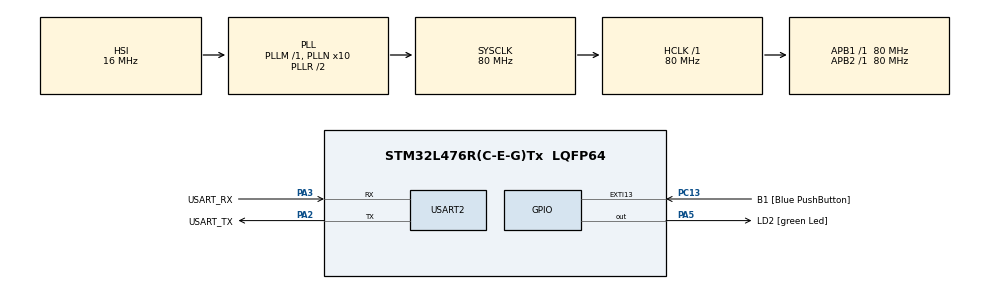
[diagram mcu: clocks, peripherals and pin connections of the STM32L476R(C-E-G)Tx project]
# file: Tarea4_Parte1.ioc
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Mcu.Family=STM32L4
Mcu.Name=STM32L476R(C-E-G)Tx
Mcu.Package=LQFP64
NVIC.PriorityGroup=NVIC_PRIORITYGROUP_4
PA13\ (JTMS-SWDIO).GPIO_Label=TMS
PA13\ (JTMS-SWDIO).Mode=Serial_Wire
PA13\ (JTMS-SWDIO).Signal=SYS_JTMS-SWDIO
PA14\ (JTCK-SWCLK).GPIO_Label=TCK
PA14\ (JTCK-SWCLK).Mode=Serial_Wire
PA14\ (JTCK-SWCLK).Signal=SYS_JTCK-SWCLK
PA2.GPIO_Label=USART_TX
PA2.GPIO_Mode=GPIO_MODE_AF_PP
PA2.GPIO_PuPd=GPIO_NOPULL
PA2.GPIO_Speed=GPIO_SPEED_FREQ_VERY_HIGH
PA2.Mode=Asynchronous
PA2.Signal=USART2_TX
PA3.GPIO_Label=USART_RX
PA3.GPIO_Mode=GPIO_MODE_AF_PP
PA3.GPIO_PuPd=GPIO_NOPULL
PA3.GPIO_Speed=GPIO_SPEED_FREQ_VERY_HIGH
PA3.Mode=Asynchronous
PA3.Signal=USART2_RX
PA5.GPIO_Label=LD2 [green Led]
PA5.GPIO_ModeDefaultOutputPP=GPIO_MODE_OUTPUT_PP
PA5.GPIO_PuPd=GPIO_NOPULL
PA5.GPIO_Speed=GPIO_SPEED_FREQ_LOW
PA5.Signal=GPIO_Output
PB3\ (JTDO-TRACESWO).GPIO_Label=SWO
PB3\ (JTDO-TRACESWO).Signal=SYS_JTDO-SWO
PC13.GPIO_Label=B1 [Blue PushButton]
PC13.GPIO_ModeDefaultEXTI=GPIO_MODE_IT_FALLING
PC13.GPIO_PuPd=GPIO_PULLUP
PC13.Signal=GPXTI13
PC14-OSC32_IN\ (PC14).Mode=LSE-External-Oscillator
PC14-OSC32_IN\ (PC14).Signal=RCC_OSC32_IN
PC15-OSC32_OUT\ (PC15).Mode=LSE-External-Oscillator
PC15-OSC32_OUT\ (PC15).Signal=RCC_OSC32_OUT
PH0-OSC_IN\ (PH0).Signal=RCC_OSC_IN
PH1-OSC_OUT\ (PH1).Signal=RCC_OSC_OUT
ProjectManager.HeapSize=0x200
ProjectManager.StackSize=0x400
ProjectManager.TargetToolchain=STM32CubeIDE
RCC.ADCFreq_Value=64000000
RCC.AHBFreq_Value=80000000
RCC.APB1Freq_Value=80000000
RCC.APB1TimFreq_Value=80000000
RCC.APB2Freq_Value=80000000
RCC.APB2TimFreq_Value=80000000
RCC.CortexFreq_Value=80000000
RCC.HCLKFreq_Value=80000000
RCC.HSE_VALUE=8000000
RCC.HSI_VALUE=16000000
RCC.MSI_VALUE=4000000
RCC.PLLN=10
RCC.PLLSourceVirtual=RCC_PLLSOURCE_HSI
RCC.PREFETCH_ENABLE=1
RCC.SYSCLKFreq_VALUE=80000000
RCC.SYSCLKSource=RCC_SYSCLKSOURCE_PLLCLK
RCC.USBFreq_Value=64000000
RCC.VCOOutputFreq_Value=160000000
USART2.VirtualMode-Asynchronous=VM_ASYNC
board=NUCLEO-L476RG

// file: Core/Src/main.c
/* USER CODE BEGIN Header */
/**
  ******************************************************************************
  * @file           : main.c
  * @brief          : Main program body
  ******************************************************************************
  * @attention
  *
  * Copyright (c) 2026 STMicroelectronics.
  * All rights reserved.
  *
  * This software is licensed under terms that can be found in the LICENSE file
  * in the root directory of this software component.
  * If no LICENSE file comes with this software, it is provided AS-IS.
  *
  ******************************************************************************
  */
/* USER CODE END Header */
#include "main.h"
#include "usart.h"
#include "gpio.h"

void SystemClock_Config(void);

/* USER CODE BEGIN 0 */
typedef enum {
    ESTADO_1 = 0,
    ESTADO_2,
    ESTADO_3,
    ESTADO_4,
    ESTADO_5,
    ESTADO_6,
    ESTADO_7,
    ESTADO_8,
    ESTADO_9,
    ESTADO_10,
    ESTADO_11,
    ESTADO_12
} MaquinaEstados_t;

MaquinaEstados_t estado_actual = ESTADO_1;
/* USER CODE END 0 */

int main(void)
{

  /* MCU Configuration--------------------------------------------------------*/

  /* Reset of all peripherals, Initializes the Flash interface and the Systick. */
  HAL_Init();

  /* Configure the system clock */
  SystemClock_Config();

  /* Initialize all configured peripherals */
  MX_GPIO_Init();
  MX_USART2_UART_Init();
  /* USER CODE BEGIN 2 */
  uint8_t estado_boton_validado = GPIO_PIN_SET; // Inicia en ALTO (sin presionar)
  uint8_t ultimo_estado_lectura = GPIO_PIN_SET;
  uint32_t ultimo_tiempo_debounce = 0;
  const uint32_t RETARDO_DEBOUNCE = 50; // 50 milisegundos para filtrar el ruido
  /* USER CODE END 2 */

  /* Infinite loop */
  while (1)
  {

    /* USER CODE BEGIN 3 */
	      uint8_t lectura_actual = HAL_GPIO_ReadPin(B1_GPIO_Port, B1_Pin);

	      // 2. Lógica del Debouncer (Anti-rebote)
	      if (lectura_actual != ultimo_estado_lectura) {
	          // Reiniciamos el temporizador si detectamos un cambio (ruido o pulsación real)
	          ultimo_tiempo_debounce = HAL_GetTick();
	      }

	      if ((HAL_GetTick() - ultimo_tiempo_debounce) > RETARDO_DEBOUNCE) {
	          // Si el estado se ha mantenido estable por 50ms, es un estado válido
	          if (lectura_actual != estado_boton_validado) {
	              estado_boton_validado = lectura_actual;

	              // Si el estado validado es LOW (GPIO_PIN_RESET), significa que se presionó el botón
	              if (estado_boton_validado == GPIO_PIN_RESET) {

	                  // Cambiamos al siguiente estado
	                  estado_actual++;

	                  // Si pasamos del estado 12, volvemos al primero
	                  if (estado_actual > ESTADO_12) {
	                      estado_actual = ESTADO_1;
	                  }
	              }
	          }
	      }
	      ultimo_estado_lectura = lectura_actual;

	      switch (estado_actual) {

	          case ESTADO_1:
	              HAL_PWREx_ControlVoltageScaling(PWR_REGULATOR_VOLTAGE_SCALE1);
	              break;

	          case ESTADO_2:
	        	  // Entra esperando una interrupción (WFI).
	              HAL_PWR_EnterSLEEPMode(PWR_MAINREGULATOR_ON, PWR_SLEEPENTRY_WFI);
	              break;

	          case ESTADO_3:
	        	  HAL_PWREx_ControlVoltageScaling(PWR_REGULATOR_VOLTAGE_SCALE1);
	              break;

	          case ESTADO_4:
	        	  HAL_PWREx_EnterSTOP0Mode(PWR_STOPENTRY_WFI);
	        	  SystemClock_Config();
	              break;

	          case ESTADO_5:
	        	  HAL_PWREx_ControlVoltageScaling(PWR_REGULATOR_VOLTAGE_SCALE1);
	              break;

	          case ESTADO_6:
	        	  HAL_PWREx_EnterSTOP1Mode(PWR_STOPENTRY_WFI);
	              SystemClock_Config();
	              break;

	          case ESTADO_7:
	        	  HAL_PWREx_ControlVoltageScaling(PWR_REGULATOR_VOLTAGE_SCALE1);
	              break;

	          case ESTADO_8:
	        	  HAL_PWREx_EnterSTOP2Mode(PWR_STOPENTRY_WFI);
	              SystemClock_Config();
	              break;

	          case ESTADO_9:
	        	  HAL_PWREx_ControlVoltageScaling(PWR_REGULATOR_VOLTAGE_SCALE1);
	              break;

	          case ESTADO_10:

	        	  HAL_PWREx_EnterSHUTDOWNMode();
	              break;

	          case ESTADO_11:
	        	  HAL_PWREx_ControlVoltageScaling(PWR_REGULATOR_VOLTAGE_SCALE1);
	              break;

	          case ESTADO_12:
	        	  HAL_PWR_EnterSTANDBYMode();
	              break;
	      }

  /* USER CODE END 3 */
  }
}

void SystemClock_Config(void)
{
  RCC_OscInitTypeDef RCC_OscInitStruct = {0};
  RCC_ClkInitTypeDef RCC_ClkInitStruct = {0};

  /** Configure the main internal regulator output voltage
  */
  if (HAL_PWREx_ControlVoltageScaling(PWR_REGULATOR_VOLTAGE_SCALE1) != HAL_OK)
  {
    Error_Handler();
  }

  /** Initializes the RCC Oscillators according to the specified parameters
  * in the RCC_OscInitTypeDef structure.
  */
  RCC_OscInitStruct.OscillatorType = RCC_OSCILLATORTYPE_HSI;
  RCC_OscInitStruct.HSIState = RCC_HSI_ON;
  RCC_OscInitStruct.HSICalibrationValue = RCC_HSICALIBRATION_DEFAULT;
  RCC_OscInitStruct.PLL.PLLState = RCC_PLL_ON;
  RCC_OscInitStruct.PLL.PLLSource = RCC_PLLSOURCE_HSI;
  RCC_OscInitStruct.PLL.PLLM = 1;
  RCC_OscInitStruct.PLL.PLLN = 10;
  RCC_OscInitStruct.PLL.PLLP = RCC_PLLP_DIV7;
  RCC_OscInitStruct.PLL.PLLQ = RCC_PLLQ_DIV2;
  RCC_OscInitStruct.PLL.PLLR = RCC_PLLR_DIV2;
  if (HAL_RCC_OscConfig(&RCC_OscInitStruct) != HAL_OK)
  {
    Error_Handler();
  }

  /** Initializes the CPU, AHB and APB buses clocks
  */
  RCC_ClkInitStruct.ClockType = RCC_CLOCKTYPE_HCLK|RCC_CLOCKTYPE_SYSCLK
                              |RCC_CLOCKTYPE_PCLK1|RCC_CLOCKTYPE_PCLK2;
  RCC_ClkInitStruct.SYSCLKSource = RCC_SYSCLKSOURCE_PLLCLK;
  RCC_ClkInitStruct.AHBCLKDivider = RCC_SYSCLK_DIV1;
  RCC_ClkInitStruct.APB1CLKDivider = RCC_HCLK_DIV1;
  RCC_ClkInitStruct.APB2CLKDivider = RCC_HCLK_DIV1;

  if (HAL_RCC_ClockConfig(&RCC_ClkInitStruct, FLASH_LATENCY_4) != HAL_OK)
  {
    Error_Handler();
  }
}

void Error_Handler(void)
{
  __disable_irq();
  while (1)
  {
  }
}
